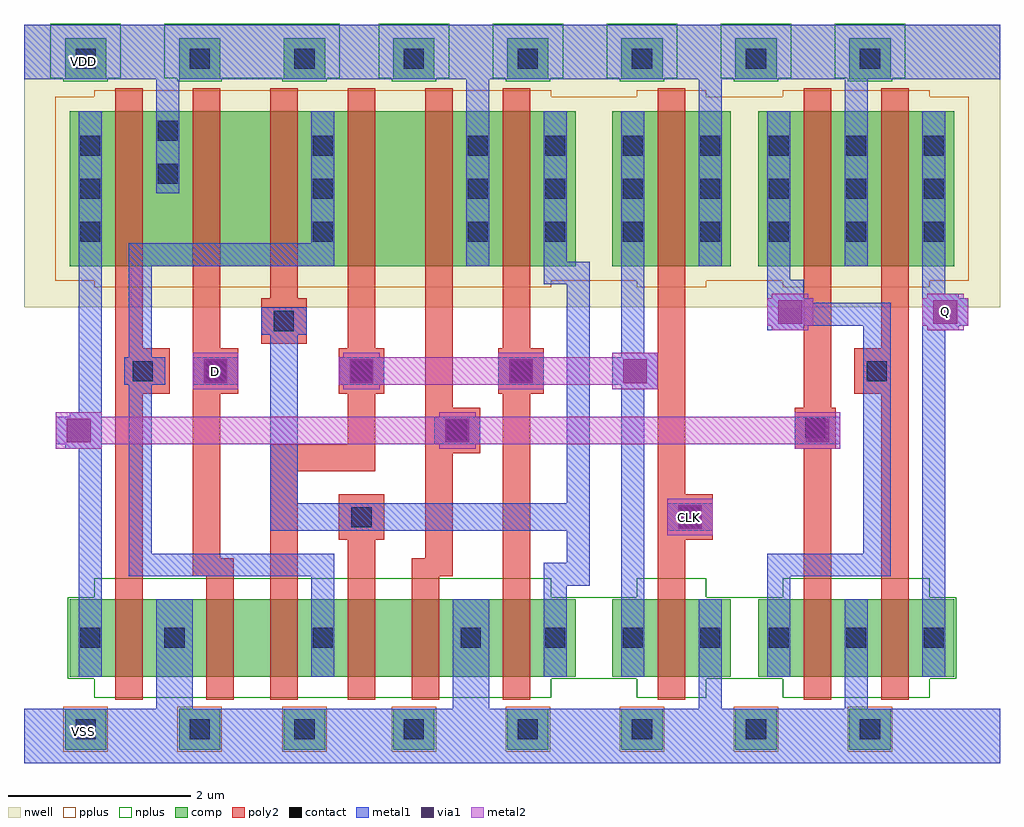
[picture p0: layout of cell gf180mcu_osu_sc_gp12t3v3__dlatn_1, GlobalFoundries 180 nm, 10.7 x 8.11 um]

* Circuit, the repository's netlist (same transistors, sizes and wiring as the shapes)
* Copyright 2022 Google LLC
*
* Licensed under the Apache License, Version 2.0 (the "License");
* you may not use this file except in compliance with the License.
* You may obtain a copy of the License at
*
*      http://www.apache.org/licenses/LICENSE-2.0
*
* Unless required by applicable law or agreed to in writing, software
* distributed under the License is distributed on an "AS IS" BASIS,
* WITHOUT WARRANTIES OR CONDITIONS OF ANY KIND, either express or implied.
* See the License for the specific language governing permissions and
* limitations under the License.

.inc "/import/yukari1/lrburle/OSU_180/char/techfiles/design.hspice"
.lib "/import/yukari1/lrburle/OSU_180/char/techfiles/sm141064.hspice" typical

.GLOBAL VDD
.GLOBAL VSS

.option scale=0.05u

.subckt gf180mcu_osu_sc_gp12t3v3__dlatn_1 D Q CLK
X0 VDD CLK a_54_14 VDD pmos_3p3 w=34 l=6
X1 Q a_161_19 VSS VSS nmos_3p3 w=17 l=6
X2 a_52_92 a_54_14 VDD VDD pmos_3p3 w=34 l=6
X3 VSS CLK a_54_14 VSS nmos_3p3 w=17 l=6
X4 VSS a_10_19 a_161_19 VSS nmos_3p3 w=17 l=6
X5 a_46_19 D VSS VSS nmos_3p3 w=17 l=6
X6 a_20_14 a_54_14 a_46_19 VSS nmos_3p3 w=17 l=6
X7 VDD a_10_19 a_77_109 VDD pmos_3p3 w=34 l=6
X8 a_77_109 a_54_14 a_20_14 VDD pmos_3p3 w=34 l=6
X9 a_20_14 a_52_92 a_43_109 VDD pmos_3p3 w=34 l=6
X10 VDD a_20_14 a_10_19 VDD pmos_3p3 w=34 l=6
X11 a_43_109 D VDD VDD pmos_3p3 w=34 l=6
X12 VDD a_10_19 a_161_19 VDD pmos_3p3 w=34 l=6
X13 Q a_161_19 VDD VDD pmos_3p3 w=34 l=6
X14 a_77_19 a_52_92 a_20_14 VSS nmos_3p3 w=17 l=6
X15 VSS a_10_19 a_77_19 VSS nmos_3p3 w=17 l=6
X16 a_52_92 a_54_14 VSS VSS nmos_3p3 w=17 l=6
X17 VSS a_20_14 a_10_19 VSS nmos_3p3 w=17 l=6
.ends

** hspice subcircuit dictionary

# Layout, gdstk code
import gdstk
lib = gdstk.Library(unit=1e-6, precision=1e-09)
def R(c, l, rs):  # rectangles x0, y0, x1, y1
    for r in rs: c.add(gdstk.rectangle(r[:2], r[2:], *l))
def A(c, l, x, y, w, h, nx, ny, dx, dy):  # array of equal rectangles
    R(c, l, [(x+i*dx, y+j*dy, x+i*dx+w, y+j*dy+h) for i in range(nx) for j in range(ny)])
nwell = (21, 0)
comp = (22, 0)
poly2 = (30, 0)
pplus = (31, 0)
nplus = (32, 0)
contact = (33, 0)
metal1 = (34, 0)
via1 = (35, 0)
metal2 = (36, 0)

gf180mcu_osu_sc_gp12t3v3 = lib.new_cell('gf180mcu_osu_sc_gp12t3v3__dlatn_1')
R(gf180mcu_osu_sc_gp12t3v3, nwell, [(0,5,10.7,8.1)])
A(gf180mcu_osu_sc_gp12t3v3, comp, 4.05, 0.15, 0.45, 0.45, 5, 2, 1.25, 7.35)
R(gf180mcu_osu_sc_gp12t3v3, comp, [(0.45,0.15,0.9,0.6), (1.7,0.15,2.15,0.6), (2.85,0.15,3.3,0.6), (0.5,0.95,6.05,1.8), (6.45,0.95,7.75,1.8), (8.05,0.95,10.2,1.8), (0.5,5.45,6.05,7.15), (6.45,5.45,7.75,7.15), (8.05,5.45,10.2,7.15), (0.45,7.5,0.9,7.95), (1.7,7.5,2.15,7.95), (2.85,7.5,3.3,7.95)])
A(gf180mcu_osu_sc_gp12t3v3, poly2, 1.85, 4.55, 0.3, 2.85, 3, 1, 1.7, 0)
R(gf180mcu_osu_sc_gp12t3v3, poly2, [(1,0.7,1.3,4.05), (2,0.7,2.3,2.05), (2.7,0.7,3,3.2), (3.55,0.7,3.85,2.45), (4.25,0.7,4.55,2.05), (5.25,0.7,5.55,4.05), (6.95,0.7,7.25,2.45), (8.55,0.7,8.85,3.45), (9.4,0.7,9.7,4.05), (1.85,2.05,2.3,2.25), (4.25,2.05,4.7,2.25), (1.85,2.25,2.15,4.05), (4.4,2.25,4.7,3.4), (3.45,2.45,3.95,2.95), (6.95,2.45,7.55,2.95), (6.95,2.95,7.25,7.4), (2.7,3.2,3.85,3.5), (4.4,3.4,5,3.9), (8.45,3.45,8.9,3.9), (3.55,3.5,3.85,4.05), (4.4,3.9,4.7,7.4), (8.55,3.9,8.85,7.4), (1,4.05,1.6,4.55), (1.85,4.05,2.35,4.55), (3.45,4.05,3.95,4.55), (5.2,4.05,5.7,4.55), (9.1,4.05,9.7,4.55), (1,4.55,1.3,7.4), (9.4,4.55,9.7,7.4), (2.6,4.6,3.1,5.1), (2.7,5.1,3,7.4)])
A(gf180mcu_osu_sc_gp12t3v3, pplus, 4.03, 0.13, 0.49, 0.49, 5, 1, 1.25, 0)
R(gf180mcu_osu_sc_gp12t3v3, pplus, [(0.43,0.13,0.92,0.62), (1.68,0.13,2.17,0.62), (2.83,0.13,3.32,0.62), (0.77,5.22,5.78,5.29), (6.72,5.22,7.48,5.29), (8.32,5.22,9.93,5.29), (0.34,5.29,10.36,7.31), (0.77,7.31,5.78,7.38), (6.72,7.31,7.48,7.38), (8.32,7.31,9.93,7.38)])
A(gf180mcu_osu_sc_gp12t3v3, nplus, 4.03, 7.48, 0.49, 0.03, 5, 1, 1.25, 0)
A(gf180mcu_osu_sc_gp12t3v3, nplus, 3.89, 7.51, 0.77, 0.6, 5, 1, 1.25, 0)
R(gf180mcu_osu_sc_gp12t3v3, nplus, [(0.77,0.72,5.78,0.93), (6.72,0.72,7.48,0.93), (8.32,0.72,9.93,0.93), (0.48,0.93,10.22,1.82), (0.77,1.82,5.78,2.03), (6.72,1.82,7.48,2.03), (8.32,1.82,9.93,2.03), (0.43,7.48,0.92,7.51), (1.68,7.48,2.17,7.51), (2.83,7.48,3.32,7.51), (0.29,7.51,1.06,8.11), (1.54,7.51,3.46,8.11)])
A(gf180mcu_osu_sc_gp12t3v3, contact, 4.165, 0.265, 0.22, 0.22, 5, 2, 1.25, 7.35)
A(gf180mcu_osu_sc_gp12t3v3, contact, 1.54, 1.265, 0.22, 0.22, 3, 1, 1.625, 0)
A(gf180mcu_osu_sc_gp12t3v3, contact, 5.715, 1.265, 0.22, 0.22, 3, 1, 0.85, 0)
A(gf180mcu_osu_sc_gp12t3v3, contact, 8.165, 1.265, 0.22, 0.22, 3, 2, 0.85, 4.455)
A(gf180mcu_osu_sc_gp12t3v3, contact, 0.615, 5.72, 0.22, 0.22, 1, 3, 0, 0.47)
A(gf180mcu_osu_sc_gp12t3v3, contact, 3.165, 5.72, 0.22, 0.22, 1, 3, 0, 0.47)
A(gf180mcu_osu_sc_gp12t3v3, contact, 4.865, 5.72, 0.22, 0.22, 4, 3, 0.85, 0.47)
A(gf180mcu_osu_sc_gp12t3v3, contact, 8.165, 6.19, 0.22, 0.22, 3, 2, 0.85, 0.47)
R(gf180mcu_osu_sc_gp12t3v3, contact, [(0.565,0.265,0.785,0.485), (1.815,0.265,2.035,0.485), (2.965,0.265,3.185,0.485), (0.615,1.265,0.835,1.485), (3.59,2.59,3.81,2.81), (7.19,2.59,7.41,2.81), (4.64,3.54,4.86,3.76), (8.565,3.565,8.785,3.785), (1.19,4.19,1.41,4.41), (1.99,4.19,2.21,4.41), (3.59,4.19,3.81,4.41), (5.34,4.19,5.56,4.41), (9.24,4.19,9.46,4.41), (2.74,4.74,2.96,4.96), (1.465,6.355,1.685,6.575), (1.465,6.825,1.685,7.045), (0.565,7.615,0.785,7.835), (1.815,7.615,2.035,7.835), (2.965,7.615,3.185,7.835)])
R(gf180mcu_osu_sc_gp12t3v3, metal1, [(0,0,10.7,0.6), (1.45,0.6,1.85,1.8), (4.7,0.6,5.1,1.8), (7.4,0.6,7.65,1.8), (9,0.6,9.25,1.8), (0.6,0.95,0.85,3.45), (3.15,0.95,3.4,2.05), (5.7,0.95,5.95,1.95), (6.55,0.95,6.8,4.1), (8.15,0.95,8.4,2.05), (9.85,0.95,10.1,4.75), (5.7,1.95,6.2,2.2), (1.15,2.05,3.4,2.3), (8.15,2.05,9.5,2.3), (5.95,2.2,6.2,2.55), (1.15,2.3,1.4,4.15), (9.2,2.3,9.5,4.8), (2.7,2.55,6.2,2.85), (7.05,2.55,7.55,2.85), (2.7,2.85,3,4.7), (5.95,2.85,6.2,5.25), (0.45,3.45,0.85,3.5), (0.35,3.5,0.85,3.8), (4.5,3.5,5,3.8), (8.45,3.5,8.95,3.8), (0.5,3.8,0.85,3.85), (0.6,3.85,0.85,7.15), (6.55,4.1,6.95,4.15), (1.1,4.15,1.55,4.45), (1.85,4.15,2.35,4.45), (3.45,4.15,3.95,4.45), (5.2,4.15,5.7,4.45), (6.45,4.15,6.95,4.45), (1.15,4.45,1.4,5.45), (6.55,4.45,6.95,4.5), (6.55,4.5,6.8,7.15), (2.6,4.7,3.1,5), (8.15,4.75,8.55,4.8), (9.85,4.75,10.25,4.8), (8.15,4.8,9.5,5.05), (9.85,4.8,10.35,5.1), (8.15,5.05,8.65,5.1), (8.15,5.1,8.55,5.3), (9.85,5.1,10.25,5.15), (9.85,5.15,10.1,7.15), (5.7,5.25,6.2,5.5), (8.15,5.3,8.4,7.15), (1.15,5.45,3.4,5.7), (4.85,5.45,5.1,7.5), (7.4,5.45,7.65,7.5), (9,5.45,9.25,7.5), (5.7,5.5,5.95,7.15), (3.15,5.7,3.4,7.15), (1.45,6.25,1.7,7.5), (0,7.5,10.7,8.1)])
R(gf180mcu_osu_sc_gp12t3v3, via1, [(7.17,2.57,7.43,2.83), (0.47,3.52,0.73,3.78), (4.62,3.52,4.88,3.78), (8.57,3.52,8.83,3.78), (1.97,4.17,2.23,4.43), (3.57,4.17,3.83,4.43), (5.32,4.17,5.58,4.43), (6.57,4.17,6.83,4.43), (8.27,4.82,8.53,5.08), (9.97,4.82,10.23,5.08)])
R(gf180mcu_osu_sc_gp12t3v3, metal2, [(7.05,2.5,7.55,2.9), (0.35,3.45,0.85,3.5), (4.55,3.45,4.95,3.5), (8.45,3.45,8.95,3.5), (0.35,3.5,8.95,3.8), (0.35,3.8,0.85,3.85), (4.55,3.8,4.95,3.85), (8.45,3.8,8.95,3.85), (1.85,4.1,2.35,4.5), (3.5,4.1,3.9,4.15), (5.2,4.1,5.7,4.15), (6.45,4.1,6.95,4.15), (3.45,4.15,6.95,4.45), (3.5,4.45,3.9,4.5), (5.2,4.45,5.7,4.5), (6.45,4.45,6.95,4.5), (8.2,4.75,8.6,4.8), (9.9,4.75,10.3,4.8), (8.15,4.8,8.65,5.1), (9.85,4.8,10.35,5.1), (8.2,5.1,8.6,5.15), (9.9,5.1,10.3,5.15)])
gf180mcu_osu_sc_gp12t3v3.add(gdstk.Label('VDD', (0.65,7.7), layer=34, texttype=0))
gf180mcu_osu_sc_gp12t3v3.add(gdstk.Label('VSS', (0.65,0.35), layer=34, texttype=0))
gf180mcu_osu_sc_gp12t3v3.add(gdstk.Label('D', (2.1,4.3), layer=36, texttype=10))
gf180mcu_osu_sc_gp12t3v3.add(gdstk.Label('Q', (10.1,4.95), layer=36, texttype=10))
gf180mcu_osu_sc_gp12t3v3.add(gdstk.Label('CLK', (7.3,2.7), layer=36, texttype=10))

lib.write_gds('gf180mcu_osu_sc_gp12t3v3__dlatn_1.gds')
